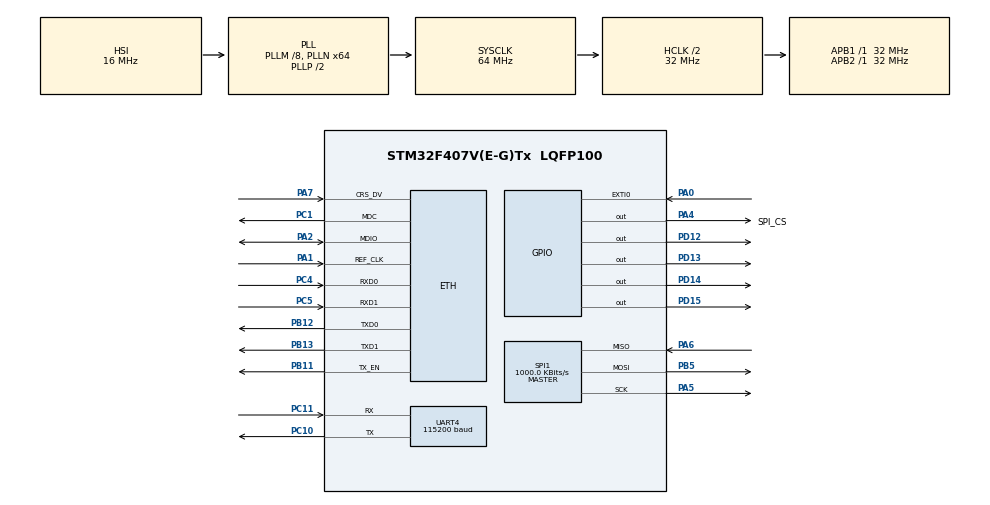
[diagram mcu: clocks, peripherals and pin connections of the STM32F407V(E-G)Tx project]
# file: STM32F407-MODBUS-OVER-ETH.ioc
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ADC1.Channel-0\#ChannelRegularConversion=ADC_CHANNEL_TEMPSENSOR
ADC1.ClockPrescaler=ADC_CLOCK_SYNC_PCLK_DIV4
ADC1.ExternalTrigConv=ADC_EXTERNALTRIGCONV_T2_TRGO
ADC1.InjNumberOfConversion=0
ADC1.NbrOfConversion=1
ADC1.NbrOfConversionFlag=1
ADC1.Rank-0\#ChannelRegularConversion=1
ADC1.SamplingTime-0\#ChannelRegularConversion=ADC_SAMPLETIME_480CYCLES
ADC1.master=1
ETH.MediaInterface=HAL_ETH_RMII_MODE
LWIP.BSP.number=1
LWIP.GATEWAY_ADDRESS=192.168.001.001
LWIP.IP_ADDRESS=192.168.001.050
LWIP.LWIP_DHCP=0
LWIP.NETMASK_ADDRESS=255.255.255.000
LWIP.Version=v2.1.2_Cube
LWIP0.BSP.STBoard=false
LWIP0.BSP.api=BSP_COMPONENT_DRIVER
LWIP0.BSP.component=LAN8742
LWIP0.BSP.instance=LAN8742
LWIP0.BSP.name=Driver_PHY
LWIP0.BSP.semaphore=S_LAN8742
LWIP0.BSP.solution=LAN8742
Mcu.Family=STM32F4
Mcu.Name=STM32F407V(E-G)Tx
Mcu.Package=LQFP100
NVIC.ADC_IRQn=true\:0\:0\:false\:false\:true\:true\:true\:true
NVIC.ETH_IRQn=true\:0\:0\:false\:false\:true\:true\:true\:true
NVIC.EXTI0_IRQn=true\:0\:0\:false\:false\:true\:true\:true\:true
NVIC.PriorityGroup=NVIC_PRIORITYGROUP_4
PA0-WKUP.Signal=GPXTI0
PA1.Mode=RMII
PA1.Signal=ETH_REF_CLK
PA2.Mode=RMII
PA2.Signal=ETH_MDIO
PA4.GPIO_Label=SPI_CS
PA4.GPIO_Speed=GPIO_SPEED_FREQ_HIGH
PA4.PinState=GPIO_PIN_SET
PA4.Signal=GPIO_Output
PA5.Mode=Full_Duplex_Master
PA5.Signal=SPI1_SCK
PA6.Mode=Full_Duplex_Master
PA6.Signal=SPI1_MISO
PA7.Mode=RMII
PA7.Signal=ETH_CRS_DV
PB11.Mode=RMII
PB11.Signal=ETH_TX_EN
PB12.Mode=RMII
PB12.Signal=ETH_TXD0
PB13.Mode=RMII
PB13.Signal=ETH_TXD1
PB5.Mode=Full_Duplex_Master
PB5.Signal=SPI1_MOSI
PC1.Mode=RMII
PC1.Signal=ETH_MDC
PC10.Mode=Asynchronous
PC10.Signal=UART4_TX
PC11.Mode=Asynchronous
PC11.Signal=UART4_RX
PC4.Mode=RMII
PC4.Signal=ETH_RXD0
PC5.Mode=RMII
PC5.Signal=ETH_RXD1
PD12.Signal=GPIO_Output
PD13.Signal=GPIO_Output
PD14.Signal=GPIO_Output
PD15.Signal=GPIO_Output
ProjectManager.HeapSize=0x200
ProjectManager.StackSize=0x400
ProjectManager.TargetToolchain=STM32CubeIDE
<<<<<<< HEAD
=======
>>>>>>> main
RCC.48MHZClocksFreq_Value=32000000
RCC.AHBCLKDivider=RCC_SYSCLK_DIV2
RCC.AHBFreq_Value=32000000
RCC.APB1Freq_Value=32000000
RCC.APB1TimFreq_Value=32000000
RCC.APB2Freq_Value=32000000
RCC.APB2TimFreq_Value=32000000
RCC.CortexFreq_Value=32000000
RCC.HCLKFreq_Value=32000000
RCC.HSE_VALUE=25000000
RCC.HSI_VALUE=16000000
RCC.LSE_VALUE=32768
RCC.PLLM=8
RCC.PLLN=64
RCC.SYSCLKFreq_VALUE=64000000
RCC.SYSCLKSource=RCC_SYSCLKSOURCE_PLLCLK
RCC.VCOOutputFreq_Value=128000000
<<<<<<< HEAD
SPI1.BaudRatePrescaler=SPI_BAUDRATEPRESCALER_32
SPI1.CalculateBaudRate=1000.0 KBits/s
SPI1.Direction=SPI_DIRECTION_2LINES
SPI1.Mode=SPI_MODE_MASTER
SPI1.VirtualType=VM_MASTER
=======
TIM2.AutoReloadPreload=TIM_AUTORELOAD_PRELOAD_DISABLE
>>>>>>> main
TIM2.Period=2999
TIM2.Prescaler=32000-1
TIM2.TIM_MasterOutputTrigger=TIM_TRGO_UPDATE
TIM2.TIM_MasterSlaveMode=TIM_MASTERSLAVEMODE_DISABLE
UART4.BaudRate=115200
UART4.VirtualMode=Asynchronous
VP_ADC1_TempSens_Input.Mode=IN-TempSens
VP_LWIP_VS_Enabled.Mode=Enabled
VP_TIM2_VS_ClockSourceINT.Mode=Internal
board=custom

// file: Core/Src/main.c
/* USER CODE BEGIN Header */
/**
 ******************************************************************************
 * @file           : main.c
 * @brief          : Main program body
 ******************************************************************************
 * @attention
 *
 * Copyright (c) 2025 STMicroelectronics.
 * All rights reserved.
 *
 * This software is licensed under terms that can be found in the LICENSE file
 * in the root directory of this software component.
 * If no LICENSE file comes with this software, it is provided AS-IS.
 *
 ******************************************************************************
 */
/* USER CODE END Header */
#include "main.h"
#include "lwip.h"

/* USER CODE BEGIN Includes */
#include "main.h"
#include "lwip.h"
#include "tcp_check.h"

#include "mb.h"
#include "mbtcp.h"
#include "mbport.h"
#include "modbus_callbacks.h"
#include "spi_protocol.h"

/* USER CODE END Includes */

ADC_HandleTypeDef hadc1;

SPI_HandleTypeDef hspi1;

TIM_HandleTypeDef htim2;

UART_HandleTypeDef huart4;

/* USER CODE BEGIN PV */

char dbg_buf[64];
/* USER CODE END PV */

void SystemClock_Config(void);
static void MX_GPIO_Init(void);
static void MX_UART4_Init(void);
static void MX_ADC1_Init(void);
static void MX_TIM2_Init(void);
static void MX_SPI1_Init(void);

int main(void)
{

  /* MCU Configuration--------------------------------------------------------*/

  /* Reset of all peripherals, Initializes the Flash interface and the Systick. */
  HAL_Init();

  /* Configure the system clock */
  SystemClock_Config();

  /* Initialize all configured peripherals */
  MX_GPIO_Init();
  MX_LWIP_Init();
  MX_UART4_Init();
  MX_ADC1_Init();
  MX_TIM2_Init();
  MX_SPI1_Init();
  /* USER CODE BEGIN 2 */
  HAL_TIM_Base_Start(&htim2);
  HAL_ADC_Start_IT(&hadc1);

	eMBErrorCode err;
	err = eMBTCPInit(502);
	if (err != MB_ENOERR) {
		DEBUG_PRINTF("eMBTCPInit failed: %d\r\n", err);
		LED_ON(LED_RED_PIN);
		while (1); // hang on error
	} else {
		DEBUG_PRINTF("eMBTCPInit OK.\r\n");
	}

	err = eMBEnable();
	if (err != MB_ENOERR) {
		DEBUG_PRINTF("eMBEnable failed: %d\r\n", err);
		LED_ON(LED_RED_PIN);
		while (1);
	} else {
		DEBUG_PRINTF("eMBEnable OK.\r\n");
	}
	Modbus_InitCallbacks();
	DEBUG_PRINTF("Callbacks registered.\r\n");

	Modbus_SetHolding(0, 65);
	DEBUG_PRINTF("Holding[0] = 65 set.\r\n");

	SPI_Protocol_Init();
  /* USER CODE END 2 */

  /* Infinite loop */
  /* USER CODE BEGIN WHILE */
	while (1)
	{
		MX_LWIP_Process();

		err = eMBPoll();
		if (err != MB_ENOERR) {
			DEBUG_PRINTF("eMBPoll error: %d\r\n", err);
		}
    /* USER CODE END WHILE */

	}
}

void SystemClock_Config(void)
{
  RCC_OscInitTypeDef RCC_OscInitStruct = {0};
  RCC_ClkInitTypeDef RCC_ClkInitStruct = {0};

  /** Configure the main internal regulator output voltage
  */
  __HAL_RCC_PWR_CLK_ENABLE();
  __HAL_PWR_VOLTAGESCALING_CONFIG(PWR_REGULATOR_VOLTAGE_SCALE1);

  /** Initializes the RCC Oscillators according to the specified parameters
  * in the RCC_OscInitTypeDef structure.
  */
  RCC_OscInitStruct.OscillatorType = RCC_OSCILLATORTYPE_HSI;
  RCC_OscInitStruct.HSIState = RCC_HSI_ON;
  RCC_OscInitStruct.HSICalibrationValue = RCC_HSICALIBRATION_DEFAULT;
  RCC_OscInitStruct.PLL.PLLState = RCC_PLL_ON;
  RCC_OscInitStruct.PLL.PLLSource = RCC_PLLSOURCE_HSI;
  RCC_OscInitStruct.PLL.PLLM = 8;
  RCC_OscInitStruct.PLL.PLLN = 64;
  RCC_OscInitStruct.PLL.PLLP = RCC_PLLP_DIV2;
  RCC_OscInitStruct.PLL.PLLQ = 4;
  if (HAL_RCC_OscConfig(&RCC_OscInitStruct) != HAL_OK)
  {
    Error_Handler();
  }

  /** Initializes the CPU, AHB and APB buses clocks
  */
  RCC_ClkInitStruct.ClockType = RCC_CLOCKTYPE_HCLK|RCC_CLOCKTYPE_SYSCLK
                              |RCC_CLOCKTYPE_PCLK1|RCC_CLOCKTYPE_PCLK2;
  RCC_ClkInitStruct.SYSCLKSource = RCC_SYSCLKSOURCE_PLLCLK;
  RCC_ClkInitStruct.AHBCLKDivider = RCC_SYSCLK_DIV2;
  RCC_ClkInitStruct.APB1CLKDivider = RCC_HCLK_DIV1;
  RCC_ClkInitStruct.APB2CLKDivider = RCC_HCLK_DIV1;

  if (HAL_RCC_ClockConfig(&RCC_ClkInitStruct, FLASH_LATENCY_1) != HAL_OK)
  {
    Error_Handler();
  }
}

static void MX_ADC1_Init(void)
{

  ADC_ChannelConfTypeDef sConfig = {0};

  /** Configure the global features of the ADC (Clock, Resolution, Data Alignment and number of conversion)
  */
  hadc1.Instance = ADC1;
  hadc1.Init.ClockPrescaler = ADC_CLOCK_SYNC_PCLK_DIV4;
  hadc1.Init.Resolution = ADC_RESOLUTION_12B;
  hadc1.Init.ScanConvMode = DISABLE;
  hadc1.Init.ContinuousConvMode = DISABLE;
  hadc1.Init.DiscontinuousConvMode = DISABLE;
  hadc1.Init.ExternalTrigConvEdge = ADC_EXTERNALTRIGCONVEDGE_RISING;
  hadc1.Init.ExternalTrigConv = ADC_EXTERNALTRIGCONV_T2_TRGO;
  hadc1.Init.DataAlign = ADC_DATAALIGN_RIGHT;
  hadc1.Init.NbrOfConversion = 1;
  hadc1.Init.DMAContinuousRequests = DISABLE;
  hadc1.Init.EOCSelection = ADC_EOC_SINGLE_CONV;
  if (HAL_ADC_Init(&hadc1) != HAL_OK)
  {
    Error_Handler();
  }

  /** Configure for the selected ADC regular channel its corresponding rank in the sequencer and its sample time.
  */
  sConfig.Channel = ADC_CHANNEL_TEMPSENSOR;
  sConfig.Rank = 1;
  sConfig.SamplingTime = ADC_SAMPLETIME_480CYCLES;
  if (HAL_ADC_ConfigChannel(&hadc1, &sConfig) != HAL_OK)
  {
    Error_Handler();
  }

}

static void MX_SPI1_Init(void)
{

  /* SPI1 parameter configuration*/
  hspi1.Instance = SPI1;
  hspi1.Init.Mode = SPI_MODE_MASTER;
  hspi1.Init.Direction = SPI_DIRECTION_2LINES;
  hspi1.Init.DataSize = SPI_DATASIZE_8BIT;
  hspi1.Init.CLKPolarity = SPI_POLARITY_LOW;
  hspi1.Init.CLKPhase = SPI_PHASE_1EDGE;
  hspi1.Init.NSS = SPI_NSS_SOFT;
  hspi1.Init.BaudRatePrescaler = SPI_BAUDRATEPRESCALER_32;
  hspi1.Init.FirstBit = SPI_FIRSTBIT_MSB;
  hspi1.Init.TIMode = SPI_TIMODE_DISABLE;
  hspi1.Init.CRCCalculation = SPI_CRCCALCULATION_DISABLE;
  hspi1.Init.CRCPolynomial = 10;
  if (HAL_SPI_Init(&hspi1) != HAL_OK)
  {
    Error_Handler();
  }

}

static void MX_TIM2_Init(void)
{

  TIM_ClockConfigTypeDef sClockSourceConfig = {0};
  TIM_MasterConfigTypeDef sMasterConfig = {0};

  htim2.Instance = TIM2;
  htim2.Init.Prescaler = 32000-1;
  htim2.Init.CounterMode = TIM_COUNTERMODE_UP;
  htim2.Init.Period = 2999;
  htim2.Init.ClockDivision = TIM_CLOCKDIVISION_DIV1;
  htim2.Init.AutoReloadPreload = TIM_AUTORELOAD_PRELOAD_DISABLE;
  if (HAL_TIM_Base_Init(&htim2) != HAL_OK)
  {
    Error_Handler();
  }
  sClockSourceConfig.ClockSource = TIM_CLOCKSOURCE_INTERNAL;
  if (HAL_TIM_ConfigClockSource(&htim2, &sClockSourceConfig) != HAL_OK)
  {
    Error_Handler();
  }
  sMasterConfig.MasterOutputTrigger = TIM_TRGO_UPDATE;
  sMasterConfig.MasterSlaveMode = TIM_MASTERSLAVEMODE_DISABLE;
  if (HAL_TIMEx_MasterConfigSynchronization(&htim2, &sMasterConfig) != HAL_OK)
  {
    Error_Handler();
  }

}

static void MX_UART4_Init(void)
{

  huart4.Instance = UART4;
  huart4.Init.BaudRate = 115200;
  huart4.Init.WordLength = UART_WORDLENGTH_8B;
  huart4.Init.StopBits = UART_STOPBITS_1;
  huart4.Init.Parity = UART_PARITY_NONE;
  huart4.Init.Mode = UART_MODE_TX_RX;
  huart4.Init.HwFlowCtl = UART_HWCONTROL_NONE;
  huart4.Init.OverSampling = UART_OVERSAMPLING_16;
  if (HAL_UART_Init(&huart4) != HAL_OK)
  {
    Error_Handler();
  }

}

static void MX_GPIO_Init(void)
{
  GPIO_InitTypeDef GPIO_InitStruct = {0};

  /* GPIO Ports Clock Enable */
  __HAL_RCC_GPIOC_CLK_ENABLE();
  __HAL_RCC_GPIOA_CLK_ENABLE();
  __HAL_RCC_GPIOB_CLK_ENABLE();
  __HAL_RCC_GPIOD_CLK_ENABLE();

  /*Configure GPIO pin Output Level */
  HAL_GPIO_WritePin(SPI_CS_GPIO_Port, SPI_CS_Pin, GPIO_PIN_SET);

  /*Configure GPIO pin Output Level */
  HAL_GPIO_WritePin(GPIOD, GPIO_PIN_12|GPIO_PIN_13|GPIO_PIN_14|GPIO_PIN_15, GPIO_PIN_RESET);

  /*Configure GPIO pin : PA0 */
  GPIO_InitStruct.Pin = GPIO_PIN_0;
  GPIO_InitStruct.Mode = GPIO_MODE_IT_RISING;
  GPIO_InitStruct.Pull = GPIO_NOPULL;
  HAL_GPIO_Init(GPIOA, &GPIO_InitStruct);

  /*Configure GPIO pin : SPI_CS_Pin */
  GPIO_InitStruct.Pin = SPI_CS_Pin;
  GPIO_InitStruct.Mode = GPIO_MODE_OUTPUT_PP;
  GPIO_InitStruct.Pull = GPIO_NOPULL;
  GPIO_InitStruct.Speed = GPIO_SPEED_FREQ_HIGH;
  HAL_GPIO_Init(SPI_CS_GPIO_Port, &GPIO_InitStruct);

  /*Configure GPIO pins : PD12 PD13 PD14 PD15 */
  GPIO_InitStruct.Pin = GPIO_PIN_12|GPIO_PIN_13|GPIO_PIN_14|GPIO_PIN_15;
  GPIO_InitStruct.Mode = GPIO_MODE_OUTPUT_PP;
  GPIO_InitStruct.Pull = GPIO_NOPULL;
  GPIO_InitStruct.Speed = GPIO_SPEED_FREQ_LOW;
  HAL_GPIO_Init(GPIOD, &GPIO_InitStruct);

  /* EXTI interrupt init*/
  HAL_NVIC_SetPriority(EXTI0_IRQn, 0, 0);
  HAL_NVIC_EnableIRQ(EXTI0_IRQn);

}

/* USER CODE BEGIN 4 */
void HAL_ADC_ConvCpltCallback(ADC_HandleTypeDef* hadc)
{
    if (hadc->Instance == ADC1)
    {
        uint32_t raw = HAL_ADC_GetValue(hadc);

        float Vsense = ((float)raw) * 3.3f / 4095.0f;
        float temperature = ((Vsense - 0.76f) / 0.0025f) + 25.0f;

        uint16_t temp_scaled = (uint16_t)(temperature * 10.0f);

        Modbus_SetHolding(1, temp_scaled);
    }
}
/* USER CODE END 4 */

void Error_Handler(void)
{
	__disable_irq();
	while (1)
	{
	}
}
